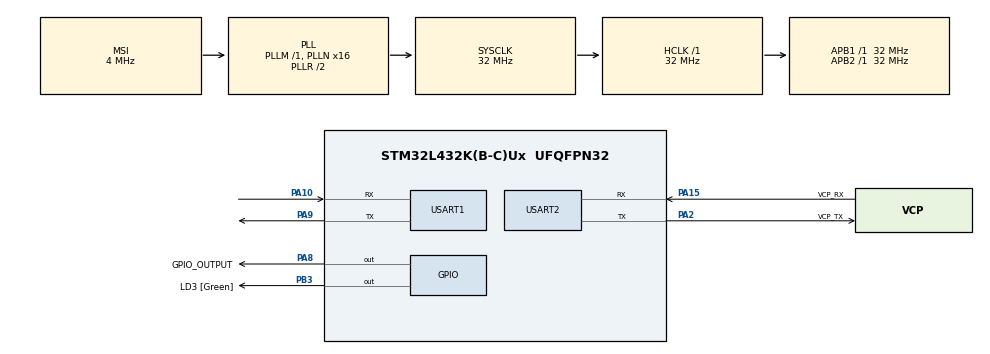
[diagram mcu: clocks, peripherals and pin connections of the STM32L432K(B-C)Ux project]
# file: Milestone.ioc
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Mcu.Family=STM32L4
Mcu.Name=STM32L432K(B-C)Ux
Mcu.Package=UFQFPN32
NVIC.PriorityGroup=NVIC_PRIORITYGROUP_4
PA0.GPIO_Label=MCO [High speed clock in]
PA0.Mode=HSE-External-Clock-Source-for-LittleOrca
PA0.Signal=RCC_CK_IN
PA10.Mode=Asynchronous
PA10.Signal=USART1_RX
PA13\ (JTMS-SWDIO).GPIO_Label=SWDIO
PA13\ (JTMS-SWDIO).Mode=Serial_Wire
PA13\ (JTMS-SWDIO).Signal=SYS_JTMS-SWDIO
PA14\ (JTCK-SWCLK).GPIO_Label=SWCLK
PA14\ (JTCK-SWCLK).Mode=Serial_Wire
PA14\ (JTCK-SWCLK).Signal=SYS_JTCK-SWCLK
PA15\ (JTDI).GPIO_Label=VCP_RX
PA15\ (JTDI).Mode=Asynchronous
PA15\ (JTDI).Signal=USART2_RX
PA2.GPIO_Label=VCP_TX
PA2.Mode=Asynchronous
PA2.Signal=USART2_TX
PA8.GPIO_Label=GPIO_OUTPUT
PA8.Signal=GPIO_Output
PA9.Mode=Asynchronous
PA9.Signal=USART1_TX
PB3\ (JTDO-TRACESWO).GPIO_Label=LD3 [Green]
PB3\ (JTDO-TRACESWO).Signal=GPIO_Output
PC14-OSC32_IN\ (PC14).Mode=LSE-External-Oscillator
PC14-OSC32_IN\ (PC14).Signal=RCC_OSC32_IN
PC15-OSC32_OUT\ (PC15).Mode=LSE-External-Oscillator
PC15-OSC32_OUT\ (PC15).Signal=RCC_OSC32_OUT
ProjectManager.HeapSize=0x200
ProjectManager.StackSize=0x400
ProjectManager.TargetToolchain=STM32CubeIDE
RCC.AHBFreq_Value=32000000
RCC.APB1Freq_Value=32000000
RCC.APB1TimFreq_Value=32000000
RCC.APB2Freq_Value=32000000
RCC.APB2TimFreq_Value=32000000
RCC.CortexFreq_Value=32000000
RCC.HCLKFreq_Value=32000000
RCC.HSE_VALUE=8000000
RCC.HSI16_VALUE=16000000
RCC.HSI48_VALUE=48000000
RCC.HSI_VALUE=16000000
RCC.MSI_VALUE=4000000
RCC.PLLMUL=RCC_PLLMUL_4
RCC.PLLN=16
RCC.SYSCLKFreq_VALUE=32000000
RCC.SYSCLKSource=RCC_SYSCLKSOURCE_PLLCLK
RCC.VCOOutputFreq_Value=64000000
USART1.VirtualMode-Asynchronous=VM_ASYNC
USART2.VirtualMode-Asynchronous=VM_ASYNC
board=NUCLEO-L432KC

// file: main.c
/* USER CODE BEGIN Header */
/**
  ******************************************************************************
  * @file           : main.c
  * @brief          : Main program body
  ******************************************************************************
  * @attention
  *
  * Copyright (c) 2026 STMicroelectronics.
  * All rights reserved.
  *
  * This software is licensed under terms that can be found in the LICENSE file
  * in the root directory of this software component.
  * If no LICENSE file comes with this software, it is provided AS-IS.
  *
  ******************************************************************************
  */
/* USER CODE END Header */
#include "main.h"

/* USER CODE BEGIN Includes */

#include <string.h>
#include <stdio.h>

/* USER CODE END Includes */

UART_HandleTypeDef huart1;
UART_HandleTypeDef huart2;

void SystemClock_Config(void);
static void MX_GPIO_Init(void);
static void MX_USART2_UART_Init(void);
static void MX_USART1_UART_Init(void);

/* USER CODE BEGIN 0 */

// NOTE: This was a suggestion from AI to create a helper (not generated)
//HAL revice needs exact length: if not itll freeze, thus we read one at a time

void receive_string(UART_HandleTypeDef *huart, char *buffer) {
    uint8_t character = 0;
    int position = 0;

    // fill zeros
    for(int k = 0; k < 128; k = k+1) {
        buffer[k] = 0;
    }

    // read
    while (position < 127) {
        // recive one letter at a time
        HAL_UART_Receive(huart, &character, 1, HAL_MAX_DELAY);

        // stop codition
        if (character == '\n') {
            break;
        }

        // reference https://stackoverflow.com/questions/15433188/what-is-the-difference-between-r-n-r-and-n
        if (character != '\r') { // add to char
            buffer[position] = (char)character;
            position = position + 1;
        }
    }

    // null terminator
    // https://edstem.org/au/courses/32321/discussion/3243901
    buffer[position] = '\0';
}

/* USER CODE END 0 */

int main(void)
{

  /* MCU Configuration--------------------------------------------------------*/

  /* Reset of all peripherals, Initializes the Flash interface and the Systick. */
  HAL_Init();

  /* Configure the system clock */
  SystemClock_Config();

  /* Initialize all configured peripherals */
  MX_GPIO_Init();
  MX_USART2_UART_Init();
  MX_USART1_UART_Init();
  /* USER CODE BEGIN 2 */

  char rx[128];
  char tx[128];

  char id[] = "G10_0";
  /* USER CODE END 2 */

  /* Infinite loop */
  while (1)
  {

	  	  	// get msg
	        receive_string(&huart2, rx);

	        // form string

	        sprintf(tx, "%s-%s\n", rx, id);

	        // led on 250ms then off
	        HAL_GPIO_WritePin(LD3_GPIO_Port, LD3_Pin, 1);
	        HAL_Delay(250);
	        HAL_GPIO_WritePin(LD3_GPIO_Port, LD3_Pin, 0);

	        // sent to next node
	        HAL_UART_Transmit(&huart1, (uint8_t*)tx, strlen(tx), HAL_MAX_DELAY);

	        // recieve back string
	        receive_string(&huart1, rx);

	        // send through cable
	        sprintf(tx, "%s\n", rx);
	        HAL_UART_Transmit(&huart2, (uint8_t*)tx, strlen(tx), HAL_MAX_DELAY);

  }
}

void SystemClock_Config(void)
{
  RCC_OscInitTypeDef RCC_OscInitStruct = {0};
  RCC_ClkInitTypeDef RCC_ClkInitStruct = {0};

  /** Configure the main internal regulator output voltage
  */
  if (HAL_PWREx_ControlVoltageScaling(PWR_REGULATOR_VOLTAGE_SCALE1) != HAL_OK)
  {
    Error_Handler();
  }

  /** Configure LSE Drive Capability
  */
  HAL_PWR_EnableBkUpAccess();
  __HAL_RCC_LSEDRIVE_CONFIG(RCC_LSEDRIVE_LOW);

  /** Initializes the RCC Oscillators according to the specified parameters
  * in the RCC_OscInitTypeDef structure.
  */
  RCC_OscInitStruct.OscillatorType = RCC_OSCILLATORTYPE_LSE|RCC_OSCILLATORTYPE_MSI;
  RCC_OscInitStruct.LSEState = RCC_LSE_ON;
  RCC_OscInitStruct.MSIState = RCC_MSI_ON;
  RCC_OscInitStruct.MSICalibrationValue = 0;
  RCC_OscInitStruct.MSIClockRange = RCC_MSIRANGE_6;
  RCC_OscInitStruct.PLL.PLLState = RCC_PLL_ON;
  RCC_OscInitStruct.PLL.PLLSource = RCC_PLLSOURCE_MSI;
  RCC_OscInitStruct.PLL.PLLM = 1;
  RCC_OscInitStruct.PLL.PLLN = 16;
  RCC_OscInitStruct.PLL.PLLP = RCC_PLLP_DIV7;
  RCC_OscInitStruct.PLL.PLLQ = RCC_PLLQ_DIV2;
  RCC_OscInitStruct.PLL.PLLR = RCC_PLLR_DIV2;
  if (HAL_RCC_OscConfig(&RCC_OscInitStruct) != HAL_OK)
  {
    Error_Handler();
  }

  /** Initializes the CPU, AHB and APB buses clocks
  */
  RCC_ClkInitStruct.ClockType = RCC_CLOCKTYPE_HCLK|RCC_CLOCKTYPE_SYSCLK
                              |RCC_CLOCKTYPE_PCLK1|RCC_CLOCKTYPE_PCLK2;
  RCC_ClkInitStruct.SYSCLKSource = RCC_SYSCLKSOURCE_PLLCLK;
  RCC_ClkInitStruct.AHBCLKDivider = RCC_SYSCLK_DIV1;
  RCC_ClkInitStruct.APB1CLKDivider = RCC_HCLK_DIV1;
  RCC_ClkInitStruct.APB2CLKDivider = RCC_HCLK_DIV1;

  if (HAL_RCC_ClockConfig(&RCC_ClkInitStruct, FLASH_LATENCY_1) != HAL_OK)
  {
    Error_Handler();
  }

  /** Enable MSI Auto calibration
  */
  HAL_RCCEx_EnableMSIPLLMode();
}

static void MX_USART1_UART_Init(void)
{

  huart1.Instance = USART1;
  huart1.Init.BaudRate = 115200;
  huart1.Init.WordLength = UART_WORDLENGTH_8B;
  huart1.Init.StopBits = UART_STOPBITS_1;
  huart1.Init.Parity = UART_PARITY_NONE;
  huart1.Init.Mode = UART_MODE_TX_RX;
  huart1.Init.HwFlowCtl = UART_HWCONTROL_NONE;
  huart1.Init.OverSampling = UART_OVERSAMPLING_16;
  huart1.Init.OneBitSampling = UART_ONE_BIT_SAMPLE_DISABLE;
  huart1.AdvancedInit.AdvFeatureInit = UART_ADVFEATURE_NO_INIT;
  if (HAL_UART_Init(&huart1) != HAL_OK)
  {
    Error_Handler();
  }

}

static void MX_USART2_UART_Init(void)
{

  huart2.Instance = USART2;
  huart2.Init.BaudRate = 115200;
  huart2.Init.WordLength = UART_WORDLENGTH_8B;
  huart2.Init.StopBits = UART_STOPBITS_1;
  huart2.Init.Parity = UART_PARITY_NONE;
  huart2.Init.Mode = UART_MODE_TX_RX;
  huart2.Init.HwFlowCtl = UART_HWCONTROL_NONE;
  huart2.Init.OverSampling = UART_OVERSAMPLING_16;
  huart2.Init.OneBitSampling = UART_ONE_BIT_SAMPLE_DISABLE;
  huart2.AdvancedInit.AdvFeatureInit = UART_ADVFEATURE_NO_INIT;
  if (HAL_UART_Init(&huart2) != HAL_OK)
  {
    Error_Handler();
  }

}

static void MX_GPIO_Init(void)
{
  GPIO_InitTypeDef GPIO_InitStruct = {0};

  /* GPIO Ports Clock Enable */
  __HAL_RCC_GPIOC_CLK_ENABLE();
  __HAL_RCC_GPIOA_CLK_ENABLE();
  __HAL_RCC_GPIOB_CLK_ENABLE();

  /*Configure GPIO pin Output Level */
  HAL_GPIO_WritePin(GPIO_OUTPUT_GPIO_Port, GPIO_OUTPUT_Pin, GPIO_PIN_RESET);

  /*Configure GPIO pin Output Level */
  HAL_GPIO_WritePin(LD3_GPIO_Port, LD3_Pin, GPIO_PIN_RESET);

  /*Configure GPIO pin : GPIO_OUTPUT_Pin */
  GPIO_InitStruct.Pin = GPIO_OUTPUT_Pin;
  GPIO_InitStruct.Mode = GPIO_MODE_OUTPUT_PP;
  GPIO_InitStruct.Pull = GPIO_NOPULL;
  GPIO_InitStruct.Speed = GPIO_SPEED_FREQ_LOW;
  HAL_GPIO_Init(GPIO_OUTPUT_GPIO_Port, &GPIO_InitStruct);

  /*Configure GPIO pin : LD3_Pin */
  GPIO_InitStruct.Pin = LD3_Pin;
  GPIO_InitStruct.Mode = GPIO_MODE_OUTPUT_PP;
  GPIO_InitStruct.Pull = GPIO_NOPULL;
  GPIO_InitStruct.Speed = GPIO_SPEED_FREQ_LOW;
  HAL_GPIO_Init(LD3_GPIO_Port, &GPIO_InitStruct);

}

void Error_Handler(void)
{
  __disable_irq();
  while (1)
  {
  }
}
